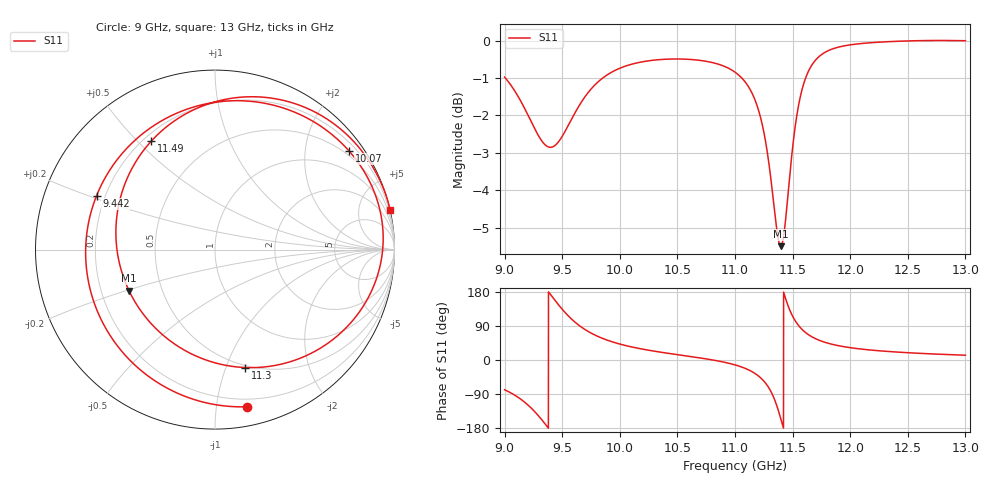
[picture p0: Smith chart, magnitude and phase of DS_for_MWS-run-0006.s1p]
! TOUCHSTONE file generated by CST DESIGN STUDIO
! Date and time: Tue Feb  4 18:32:32 2025
! Project name: C:\Work\MatlabApps\UnitCellOptimizationMatlab\CST\unitcell.cst
! Tree item: Tasks\Sweep1\SPara1\S-Parameters
! Header version: 2024
! Port assignment regex: !\s*Touchstone port\s*([0-9]+)\s*=\s*(CST MWS port|CST DES external port|CST DES block port)\s*(.+)\s* \(\"(.*)\"\)(\s*mode\s*([0-9]+))?.*
! Touchstone port assignment:
! Touchstone port 1 = CST DES external port 1 ("")
# GHz S MA R 50
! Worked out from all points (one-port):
!   4001 points, 9 GHz to 13 GHz, reference 50 ohm
!   lowest |S11| = -5.5 dB at 11.4 GHz (marker M1), VSWR 3.26, Z = 16 - j10.2 ohm
!   |S11| at or under -10 dB: nowhere
!   S11 on the Smith chart (normalised r, x): 9 GHz: 0.14, -1.21; 9.442 GHz: 0.17, +0.21; 10.07 GHz: 0.38, +3.00; 11.3 GHz: 0.48, -1.17; 11.49 GHz: 0.23, +0.55; 13 GHz: 0.02, +9.03
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9  0.8936 -78.5
9.122  0.8395 -99.5
9.22  0.7853 -123.6
9.341  0.7283 -164.5
9.442  0.7249 155.6
9.5  0.7446 133.9
9.584  0.7865 107.2
9.677  0.8322 84.6
9.826  0.8846 60.0
10  0.9183 42.1
10.075  0.9271 36.4
10.5  0.9449 14.1
11  0.9073 -12.9
11.178  0.8296 -36.4
11.241  0.7666 -52.5
11.298  0.6785 -75.6
11.349  0.5816 -108.7
11.397  0.531 -154.5
11.441  0.5796 160.3
11.492  0.7006 120.5
11.5  0.7193 115.7
11.534  0.7894 98.3
11.573  0.849 83.5
11.692  0.9387 57.3
11.819  0.9708 43.3
12  0.9869 32.5
12.5  0.9989 19.2
13  0.9994 12.6
